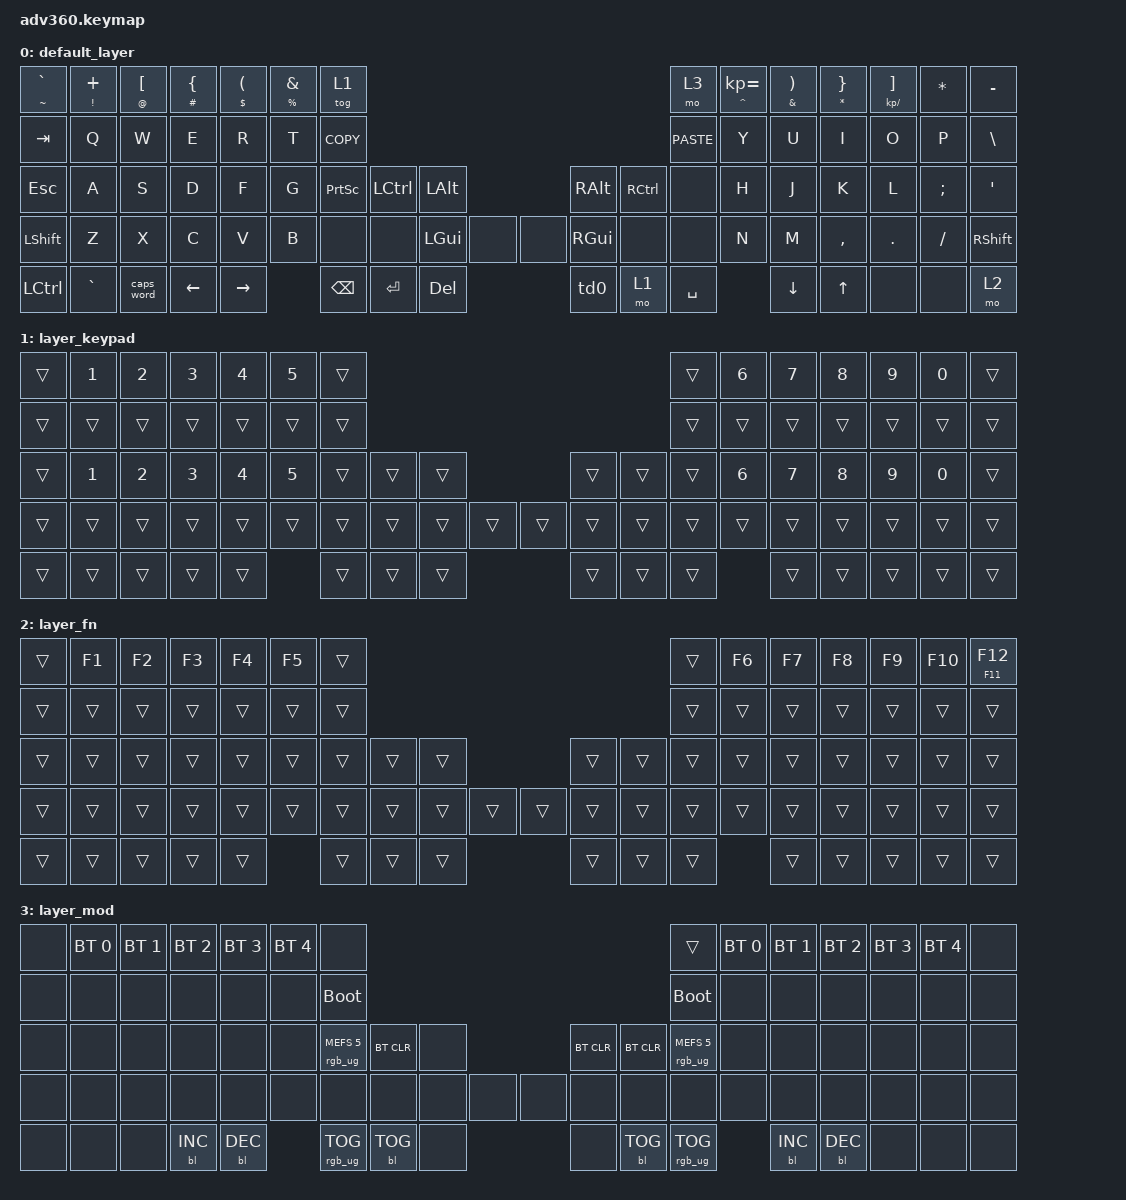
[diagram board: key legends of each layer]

/*
 * Copyright (c) 2020 The ZMK Contributors
 *
 * SPDX-License-Identifier: MIT
 */


/* THIS FILE WAS GENERATED!
 *
 * This file was generated automatically. You may or may not want to
 * edit it directly.
 */

#include <behaviors.dtsi>
#include <dt-bindings/zmk/keys.h>
#include <dt-bindings/zmk/bt.h>
#include <dt-bindings/zmk/rgb.h>
#include <dt-bindings/zmk/backlight.h>

/ {
  behaviors {
    #include "macros.dtsi"

    ht: hold_tap{
        compatible = "zmk,behavior-hold-tap";
        label = "HOLD_TAP";
        #binding-cells = <2>;
        tapping-term-ms = <250>;
        quick_tap_ms = <0>;
        flavor = "tap-preferred";
        bindings = <&kp>, <&kp>;
    };
    
    td0: tap_dance_0 {
        compatible = "zmk,behavior-tap-dance";
        label = "TAP_DANCE_0";
        #binding-cells = <0>;
        tapping-term-ms = <200>;
        bindings = <&sl 1>, <&tog 1>;
    };
  };

    keymap {
        compatible = "zmk,keymap";


        default_layer {
            bindings = <
&ht TILDE GRAVE  &ht EXCL PLUS  &ht AT LBKT  &ht HASH LBRC  &ht DLLR LPAR  &ht PRCNT AMPS     &tog 1                                                                        &mo 3           &ht CARET KP_EQUAL  &ht AMPS RPAR  &ht STAR RBRC  &ht KP_SLASH RBKT  &kp STAR   &kp MINUS
&kp TAB          &kp Q          &kp W        &kp E          &kp R          &kp T              &kp K_COPY                                                                    &kp K_PASTE     &kp Y               &kp U          &kp I          &kp O              &kp P      &kp BSLH
&kp ESC          &kp A          &kp S        &kp D          &kp F          &kp G              &kp PSCRN   &kp LCTRL   &kp LALT                         &kp RALT  &kp RCTRL  &none           &kp H               &kp J          &kp K          &kp L              &kp SEMI   &kp SQT
&kp LSHFT        &kp Z          &kp X        &kp C          &kp V          &kp B              &none       &none       &kp LGUI       &none  &none      &kp RGUI  &none      &none           &kp N               &kp M          &kp COMMA      &kp DOT            &kp FSLH   &kp RSHFT
&kp LCTRL        &kp GRAVE      &caps_word   &kp LEFT       &kp RIGHT                         &kp BSPC    &kp ENTER   &kp DEL                          &td0      &mo 1      &kp SPACE                           &kp DOWN       &kp UP         &none              &none      &mo 2
            >;
        };

        layer_keypad {
            bindings = <
 &trans  &kp N1  &kp N2  &kp N3  &kp N4  &kp N5      &trans                                                     &trans      &kp N6  &kp N7  &kp N8  &kp N9  &kp N0  &trans
 &trans  &trans  &trans  &trans  &trans  &trans      &trans                                                     &trans      &trans  &trans  &trans  &trans  &trans  &trans
 &trans  &kp N1  &kp N2  &kp N3  &kp N4  &kp N5      &trans  &trans  &trans                     &trans  &trans  &trans      &kp N6  &kp N7  &kp N8  &kp N9  &kp N0  &trans
 &trans  &trans  &trans  &trans  &trans  &trans      &trans  &trans  &trans   &trans   &trans   &trans  &trans  &trans      &trans  &trans  &trans  &trans  &trans  &trans
 &trans  &trans  &trans  &trans  &trans              &trans  &trans  &trans                     &trans  &trans  &trans              &trans  &trans  &trans  &trans  &trans
            >;
        };

        layer_fn {
            bindings = <
 &trans  &kp F1  &kp F2  &kp F3  &kp F4  &kp F5      &trans                                                     &trans      &kp F6  &kp F7  &kp F8  &kp F9   &kp F10  &ht F11 F12
 &trans  &trans  &trans  &trans  &trans  &trans      &trans                                                     &trans      &trans  &trans  &trans  &trans   &trans   &trans
 &trans  &trans  &trans  &trans  &trans  &trans      &trans  &trans  &trans                     &trans  &trans  &trans      &trans  &trans  &trans  &trans   &trans   &trans
 &trans  &trans  &trans  &trans  &trans  &trans      &trans  &trans  &trans   &trans   &trans   &trans  &trans  &trans      &trans  &trans  &trans  &trans   &trans   &trans
 &trans  &trans  &trans  &trans  &trans              &trans  &trans  &trans                     &trans  &trans  &trans              &trans  &trans  &trans   &trans   &trans
            >;
        };

        layer_mod {
            bindings = <
  &none  &bt BT_SEL 0  &bt BT_SEL 1  &bt BT_SEL 2  &bt BT_SEL 3  &bt BT_SEL 4                             &none                                                                              &trans  &bt BT_SEL 0  &bt BT_SEL 1  &bt BT_SEL 2  &bt BT_SEL 3  &bt BT_SEL 4   &none
  &none         &none         &none         &none         &none         &none                       &bootloader                                                                         &bootloader         &none         &none         &none         &none         &none   &none
  &none         &none         &none         &none         &none         &none            &rgb_ug RGB_MEFS_CMD 5  &bt BT_CLR   &none                  &bt BT_CLR  &bt BT_CLR  &rgb_ug RGB_MEFS_CMD 5         &none         &none         &none         &none         &none   &none
  &none         &none         &none         &none         &none         &none                             &none       &none   &none   &none   &none       &none       &none                   &none         &none         &none         &none         &none         &none   &none
  &none         &none         &none    &bl BL_INC    &bl BL_DEC                                 &rgb_ug RGB_TOG  &bl BL_TOG   &none                       &none  &bl BL_TOG         &rgb_ug RGB_TOG                  &bl BL_INC    &bl BL_DEC         &none         &none   &none
            >;
        };
    };
};
